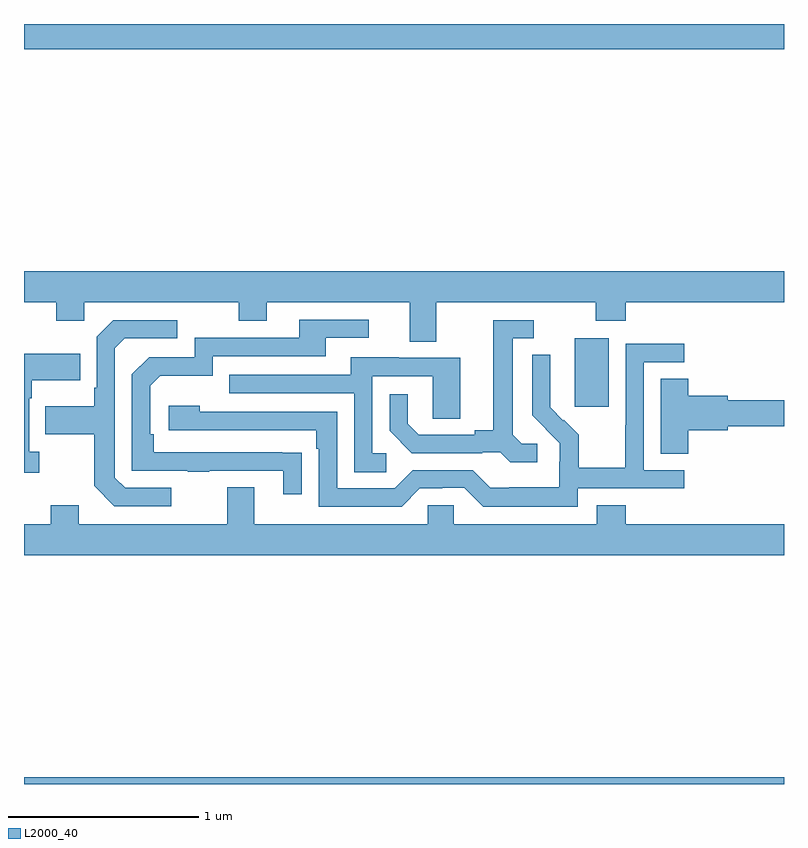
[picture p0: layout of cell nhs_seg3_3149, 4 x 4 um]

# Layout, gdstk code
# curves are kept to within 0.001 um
import gdstk
lib = gdstk.Library(unit=1e-6, precision=1e-09)
def R(c, l, rs):  # rectangles x0, y0, x1, y1
    for r in rs: c.add(gdstk.rectangle(r[:2], r[2:], *l))
def P(c, l, *ps):  # polygons
    for p in ps: c.add(gdstk.Polygon(p, *l))
L2000_40 = (2000, 40)

nhs_seg3_3149 = lib.new_cell('nhs_seg3_3149')
R(nhs_seg3_3149, L2000_40, [(275,678.4,279,678.436), (277.898,680.385,278.077,680.746), (275,682.268,279,682.4)])
P(nhs_seg3_3149, L2000_40, [(277.171,680.936),(278.008,680.936),(278.008,680.837),(278.168,680.837),(278.168,680.936),(279,680.936),(279,681.1),(275,681.1),(275,680.936),(275.17,680.936),(275.17,680.837),(275.316,680.837),(275.316,680.936),(276.13,680.936),(276.13,680.837),(276.277,680.837),(276.277,680.936),(277.031,680.936),(277.031,680.728),(277.171,680.728)],
  [(276.461,680.144),(275.684,680.145),(275.684,680.242),(275.664,680.242),(275.664,680.496),(275.717,680.549),(275.994,680.549),(275.994,680.652),(276.589,680.652),(276.589,680.748),(276.814,680.748),(276.814,680.844),(276.449,680.844),(276.449,680.748),(275.898,680.748),(275.898,680.646),(275.658,680.646),(275.568,680.556),(275.568,680.049),(275.863,680.049),(275.863,680.044),(275.975,680.044),(275.975,680.049),(276.365,680.049),(276.365,679.926),(276.461,679.926)],
  [(275.776,679.959),(275.532,679.959),(275.478,680.013),(275.478,680.694),(275.529,680.745),(275.806,680.745),(275.806,680.841),(275.469,680.841),(275.382,680.754),(275.382,680.485),(275.37,680.485),(275.37,680.389),(275.113,680.389),(275.113,680.242),(275.37,680.242),(275.37,679.969),(275.475,679.863),(275.776,679.863)],
  [(277.702,680.19),(277.62,680.19),(277.573,680.237),(277.573,680.745),(277.684,680.745),(277.684,680.841),(277.469,680.841),(277.469,680.261),(277.373,680.261),(277.373,680.238),(277.078,680.238),(277.021,680.295),(277.021,680.452),(276.924,680.452),(276.924,680.258),(277.04,680.142),(277.412,680.142),(277.412,680.145),(277.506,680.145),(277.558,680.093),(277.702,680.093)],
  [(277.914,679.956),(278.476,679.956),(278.476,680.052),(278.262,680.052),(278.262,680.619),(278.476,680.619),(278.476,680.718),(278.166,680.718),(278.166,680.288),(278.164,680.288),(278.164,680.065),(277.919,680.065),(277.919,680.239),(277.842,680.316),(277.839,680.313),(277.769,680.384),(277.77,680.66),(277.674,680.66),(277.674,680.342),(277.82,680.194),(277.82,680.097),(277.818,680.097),(277.818,679.963),(277.555,679.963),(277.555,679.959),(277.455,679.959),(277.362,680.052),(277.047,680.052),(276.951,679.956),(276.648,679.956),(276.648,680.358),(275.924,680.358),(275.924,680.392),(275.763,680.392),(275.763,680.262),(276.539,680.262),(276.539,680.165),(276.552,680.165),(276.552,679.86),(276.987,679.86),(277.083,679.956),(277.202,679.956),(277.202,679.959),(277.317,679.959),(277.417,679.859),(277.914,679.859)],
  [(275.08,680.15),(275.028,680.15),(275.028,680.429),(275.041,680.429),(275.041,680.525),(275.297,680.525),(275.297,680.665),(275,680.665),(275,680.037),(275.08,680.037)],
  [(276.907,680.142),(276.834,680.142),(276.834,680.547),(277.152,680.547),(277.152,680.323),(277.297,680.323),(277.297,680.643),(276.973,680.643),(276.973,680.647),(276.719,680.647),(276.719,680.553),(276.079,680.553),(276.079,680.457),(276.738,680.457),(276.738,680.041),(276.907,680.041)],
  [(278.495,680.261),(278.704,680.261),(278.704,680.284),(279,680.284),(279,680.42),(278.704,680.42),(278.704,680.444),(278.495,680.444),(278.495,680.534),(278.351,680.534),(278.351,680.137),(278.495,680.137)],
  [(279,679.768),(278.168,679.768),(278.168,679.867),(278.015,679.867),(278.015,679.768),(277.263,679.768),(277.263,679.866),(277.125,679.866),(277.125,679.768),(276.211,679.768),(276.211,679.963),(276.071,679.963),(276.071,679.768),(275.287,679.768),(275.287,679.867),(275.14,679.867),(275.14,679.768),(275,679.768),(275,679.604),(279,679.604)])

lib.write_gds('nhs_seg3_3149.gds')
